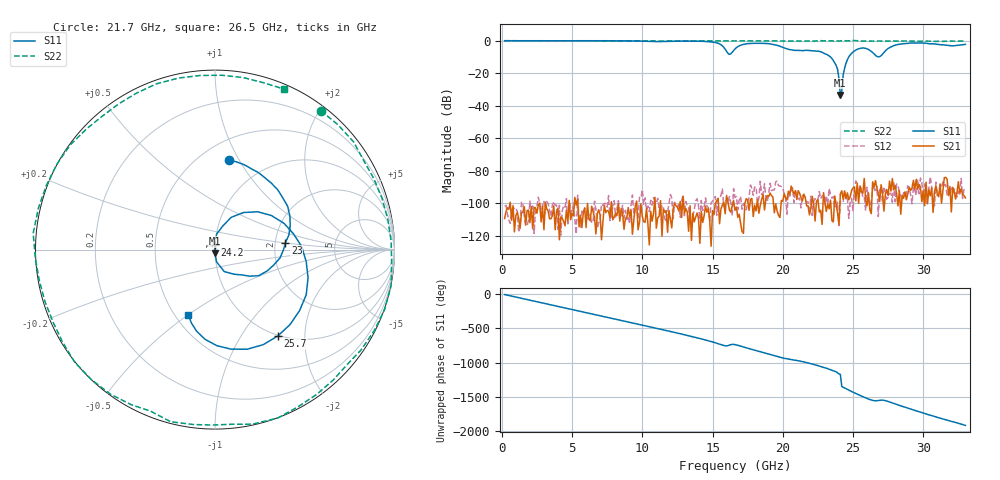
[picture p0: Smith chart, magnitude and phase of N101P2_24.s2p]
# GHZ S RI R 50
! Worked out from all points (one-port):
!   329 points, 200 MHz to 33 GHz, reference 50 ohm
!   lowest |S11| = -33.4 dB at 24.1 GHz (marker M1), VSWR 1.04, Z = 49.9 - j2.12 ohm
!   |S11| at or under -10 dB: 23.4 GHz to 24.7 GHz (1.302 GHz wide, 5.41 % of centre)
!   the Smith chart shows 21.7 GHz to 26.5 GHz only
!   S11 on the Smith chart (normalised r, x): 21.7 GHz: 0.67, +0.91; 23 GHz: 2.28, +0.21; 24.2 GHz: 0.99, +0.06; 25.7 GHz: 0.99, -1.47; 26.5 GHz: 0.58, -0.50
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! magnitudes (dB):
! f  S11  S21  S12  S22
! 200 MHz  0.0  -109.3  -101.8  0.0
! 5.7 GHz  0.0  -114.9  -104.7  0.0
! 11.2 GHz  -0.5  -107.9  -103.6  -0.2
! 15.2 GHz  -1.1  -100.0  -95.8  -0.1
! 16.2 GHz  -8.4  -104.1  -95.8  -0.1
! 16.6 GHz  -5.1  -104.3  -96.4  -0.2
! 18.5 GHz  -1.6  -97.5  -94.7  -0.1
! 21.7 GHz  -5.9  -101.5  -99.2  -0.2
! 22.1 GHz  -6.2  -95.7  -107.4  -0.3
! 23 GHz  -8.1  -99.4  -101.1  -0.2
! 23.5 GHz  -10.9  -110.7  -96.8  0.0
! 23.9 GHz  -17.5  -105.9  -99.3  -0.1
! 24.1 GHz  -33.4  -94.1  -99.0  -0.2
! 24.2 GHz  -31.0  -92.3  -98.0  0.0
! 24.3 GHz  -21.1  -97.5  -98.7  0.0
! 24.6 GHz  -11.7  -93.6  -96.5  -0.1
! 25.7 GHz  -4.5  -93.8  -96.5  -0.2
! 26.5 GHz  -8.1  -90.1  -90.7  -0.2
! 26.9 GHz  -9.8  -98.8  -91.7  -0.2
! 27.6 GHz  -4.3  -86.3  -93.8  -0.3
! 29.1 GHz  -1.4  -92.0  -94.4  -0.3
! 33 GHz  -2.2  -96.7  -91.5  -0.3
